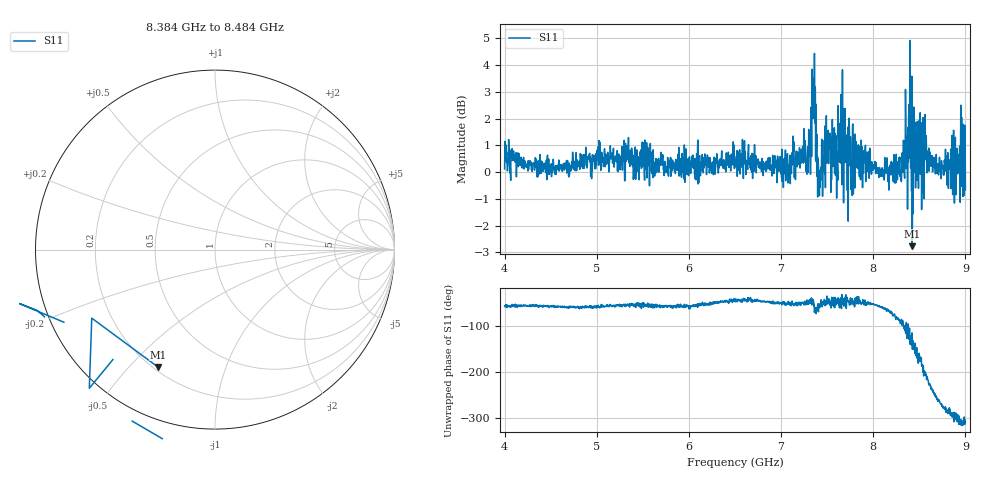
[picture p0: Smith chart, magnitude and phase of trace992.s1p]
! Created with skrf 1.8.0 (http://scikit-rf.org).
# Hz S RI R 50.0
!freq ReS11 ImS11
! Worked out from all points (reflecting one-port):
!   1601 points, 4 GHz to 9 GHz, reference 50 ohm
!   lowest |S11| = -2.8 dB at 8.422 GHz (marker M1), VSWR 6.33, Z = 10.9 - j30.2 ohm
!   phase of S11 starts at -58 deg and turns -250 deg over the sweep
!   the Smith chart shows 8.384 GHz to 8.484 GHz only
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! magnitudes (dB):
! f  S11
! 4 GHz  0.1
! 4.625 GHz  0.0
! 5.25 GHz  0.3
! 5.875 GHz  0.5
! 6.5 GHz  0.4
! 7.125 GHz  0.3
! 7.294 GHz  0.0
! 7.347 GHz  3.2
! 7.362 GHz  4.4
! 7.4 GHz  0.5
! 7.412 GHz  -0.4
! 7.509 GHz  0.5
! 7.591 GHz  -0.1
! 7.65 GHz  2.9
! 7.691 GHz  0.6
! 7.703 GHz  0.6
! 7.75 GHz  0.5
! 8.281 GHz  0.0
! 8.316 GHz  0.5
! 8.375 GHz  0.4
! 8.422 GHz  -2.8
! 8.447 GHz  1.9
! 8.459 GHz  -0.6
! 8.497 GHz  1.1
! 8.712 GHz  0.3
! 8.919 GHz  0.4
! 8.972 GHz  0.8
! 9 GHz  -0.7
